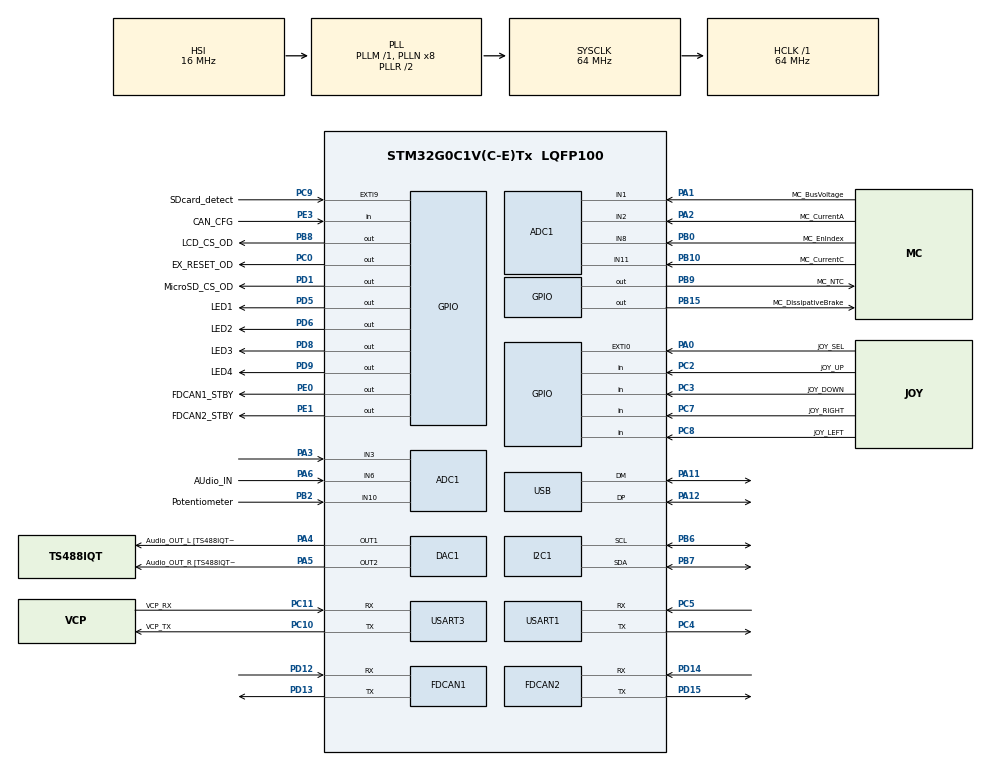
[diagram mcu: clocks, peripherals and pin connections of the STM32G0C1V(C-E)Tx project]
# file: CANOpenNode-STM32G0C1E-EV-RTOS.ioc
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ADC1.Channel-0\#ChannelRegularConversion=ADC_CHANNEL_1
ADC1.NbrOfConversionFlag=1
ADC1.Rank-0\#ChannelRegularConversion=1
ADC1.SamplingTime-0\#ChannelRegularConversion=ADC_SAMPLINGTIME_COMMON_1
ADC1.SelectedChannel=ADC_CHANNEL_1|ADC_CHANNEL_2|ADC_CHANNEL_3|ADC_CHANNEL_6|ADC_CHANNEL_8|ADC_CHANNEL_10|ADC_CHANNEL_11
ADC1.master=1
DAC1.DAC_Channel-DAC_OUT1=DAC_CHANNEL_1
DAC1.DAC_Channel-DAC_OUT2=DAC_CHANNEL_2
FDCAN1.AutoRetransmission=ENABLE
FDCAN1.CalculateBaudRateNominal=125000
FDCAN1.CalculateTimeBitNominal=8000
FDCAN1.CalculateTimeQuantumNominal=500.0
FDCAN1.ClockDivider=FDCAN_CLOCK_DIV1
FDCAN1.DataPrescaler=16
FDCAN1.DataTimeSeg1=13
FDCAN1.DataTimeSeg2=2
FDCAN1.NominalPrescaler=32
FDCAN1.NominalTimeSeg1=13
FDCAN1.NominalTimeSeg2=2
FDCAN1.ProtocolException=ENABLE
FDCAN1.TransmitPause=ENABLE
FDCAN2.CalculateBaudRateNominal=800000
FDCAN2.CalculateTimeBitNominal=1250
FDCAN2.CalculateTimeQuantumNominal=250.0
FREERTOS.Tasks01=defaultTask,24,128,StartDefaultTask,Default,NULL,Dynamic,NULL,NULL;canopen,40,128,canopen_task,Default,NULL,Dynamic,NULL,NULL
FREERTOS.configUSE_NEWLIB_REENTRANT=1
I2C1.Timing=0x10707DBC
Mcu.Family=STM32G0
Mcu.Name=STM32G0C1V(C-E)Tx
Mcu.Package=LQFP100
NVIC.TIM16_FDCAN_IT0_IRQn=true\:3\:0\:false\:false\:true\:true\:true\:true\:true
NVIC.TIM17_FDCAN_IT1_IRQn=true\:3\:0\:false\:false\:true\:true\:true\:true\:true
NVIC.TIM1_BRK_UP_TRG_COM_IRQn=true\:3\:0\:false\:false\:true\:false\:false\:true\:true
NVIC.TimeBase=TIM1_BRK_UP_TRG_COM_IRQn
NVIC.TimeBaseIP=TIM1
PA0.GPIO_Label=JOY_SEL
PA0.Signal=GPXTI0
PA1.GPIO_Label=MC_BusVoltage
PA1.Mode=IN1
PA1.Signal=ADC1_IN1
PA10.GPIO_Label=MC_WH
PA10.Signal=S_TIM1_CH3
PA11\ [PA9].Mode=Device
PA11\ [PA9].Signal=USB_DM
PA12\ [PA10].Mode=Device
PA12\ [PA10].Signal=USB_DP
PA13.Mode=Serial_Wire
PA13.Signal=SYS_SWDIO
PA14-BOOT0.Mode=Serial_Wire
PA14-BOOT0.Signal=SYS_SWCLK
PA2.GPIO_Label=MC_CurrentA
PA2.Mode=IN2
PA2.Signal=ADC1_IN2
PA3.Mode=IN3
PA3.Signal=ADC1_IN3
PA4.GPIO_Label=Audio_OUT_L [TS488IQT_VIN1]
PA4.Signal=COMP_DAC11_group
PA5.GPIO_Label=Audio_OUT_R [TS488IQT_VIN2]
PA5.Signal=COMP_DAC12_group
PA6.GPIO_Label=AUdio_IN
PA6.Mode=IN6
PA6.Signal=ADC1_IN6
PA7.Signal=SPI1_MOSI
PA8.GPIO_Label=MC_UH
PA8.Signal=S_TIM1_CH1
PA9.GPIO_Label=MC_VH
PA9.Signal=S_TIM1_CH2
PB0.GPIO_Label=MC_EnIndex
PB0.Mode=IN8
PB0.Signal=ADC1_IN8
PB1.GPIO_Label=MC_PFCpwm
PB1.Signal=S_TIM3_CH4
PB10.GPIO_Label=MC_CurrentC
PB10.Mode=IN11
PB10.Signal=ADC1_IN11
PB12.GPIO_Label=MC_EmergencySTOP
PB12.Signal=TIM1_BK
PB15.GPIO_Label=MC_DissipativeBrake
PB15.Signal=GPIO_Output
PB2.GPIO_Label=Potentiometer
PB2.Mode=IN10
PB2.Signal=ADC1_IN10
PB3.Signal=SPI1_SCK
PB5.GPIO_Label=MC_EnB
PB5.Signal=S_TIM3_CH2
PB6.GPIO_Pu=GPIO_PULLUP
PB6.Mode=I2C
PB6.Signal=I2C1_SCL
PB7.GPIO_Pu=GPIO_PULLUP
PB7.Mode=I2C
PB7.Signal=I2C1_SDA
PB8.GPIO_Label=LCD_CS_OD
PB8.GPIO_ModeDefaultOutputPP=GPIO_MODE_OUTPUT_OD
PB8.Signal=GPIO_Output
PB9.GPIO_Label=MC_NTC
PB9.Signal=GPIO_Output
PC0.GPIO_Label=EX_RESET_OD
PC0.GPIO_ModeDefaultOutputPP=GPIO_MODE_OUTPUT_OD
PC0.Signal=GPIO_Output
PC1.GPIO_Label=MC_PFCsync1
PC1.Signal=LPTIM1_OUT
PC10.GPIO_Label=VCP_TX
PC10.Mode=Asynchronous
PC10.Signal=USART3_TX
PC11.GPIO_Label=VCP_RX
PC11.Mode=Asynchronous
PC11.Signal=USART3_RX
PC13.GPIO_Label=Tamper_key
PC13.Signal=RTC_TAMP_IN1
PC14-OSC32_IN\ (PC14).Mode=LSE-External-Oscillator
PC14-OSC32_IN\ (PC14).Signal=RCC_OSC32_IN
PC15-OSC32_OUT\ (PC15).Mode=LSE-External-Oscillator
PC15-OSC32_OUT\ (PC15).Signal=RCC_OSC32_OUT
PC2.GPIO_Label=JOY_UP
PC2.Signal=GPIO_Input
PC3.GPIO_Label=JOY_DOWN
PC3.Signal=GPIO_Input
PC4.Mode=Asynchronous
PC4.Signal=USART1_TX
PC5.Mode=Asynchronous
PC5.Signal=USART1_RX
PC6.GPIO_Label=MC_EnA
PC6.Signal=S_TIM3_CH1
PC7.GPIO_Label=JOY_RIGHT
PC7.Signal=GPIO_Input
PC8.GPIO_Label=JOY_LEFT
PC8.Signal=GPIO_Input
PC9.GPIO_Label=SDcard_detect
PC9.Signal=GPXTI9
PD0.GPIO_Label=MC_PFCsync2
PD0.Signal=S_TIM16_CH1
PD1.GPIO_Label=MicroSD_CS_OD
PD1.GPIO_ModeDefaultOutputPP=GPIO_MODE_OUTPUT_OD
PD1.Signal=GPIO_Output
PD12.Mode=FDCAN_Activate
PD12.Signal=FDCAN1_RX
PD13.Mode=FDCAN_Activate
PD13.Signal=FDCAN1_TX
PD14.Mode=FDCAN_Activate
PD14.Signal=FDCAN2_RX
PD15.Mode=FDCAN_Activate
PD15.Signal=FDCAN2_TX
PD2.GPIO_Label=MC_UL
PD2.Signal=TIM1_CH1N
PD3.GPIO_Label=MC_VL
PD3.Signal=TIM1_CH2N
PD4.GPIO_Label=MC_WL
PD4.Signal=TIM1_CH3N
PD5.GPIO_Label=LED1
PD5.Signal=GPIO_Output
PD6.GPIO_Label=LED2
PD6.Signal=GPIO_Output
PD8.GPIO_Label=LED3
PD8.Signal=GPIO_Output
PD9.GPIO_Label=LED4
PD9.Signal=GPIO_Output
PE0.GPIO_Label=FDCAN1_STBY
PE0.Signal=GPIO_Output
PE1.GPIO_Label=FDCAN2_STBY
PE1.Signal=GPIO_Output
PE3.GPIO_Label=CAN_CFG
PE3.GPIO_PuPd=GPIO_PULLUP
PE3.Signal=GPIO_Input
PF0-OSC_IN\ (PF0).Mode=HSE-External-Oscillator
PF0-OSC_IN\ (PF0).Signal=RCC_OSC_IN
PF1-OSC_OUT\ (PF1).Mode=HSE-External-Oscillator
PF1-OSC_OUT\ (PF1).Signal=RCC_OSC_OUT
ProjectManager.HeapSize=0x200
ProjectManager.StackSize=0x400
ProjectManager.TargetToolchain=STM32CubeIDE
RCC.ADCFreq_Value=64000000
RCC.AHBFreq_Value=64000000
RCC.CortexFreq_Value=64000000
RCC.EXTERNAL_CLOCK_VALUE=48000
RCC.HCLKFreq_Value=64000000
RCC.HSE_VALUE=8000000
RCC.HSI48_VALUE=48000000
RCC.HSI_VALUE=16000000
RCC.SYSCLKFreq_VALUE=64000000
RCC.SYSCLKSource=RCC_SYSCLKSOURCE_PLLCLK
RCC.USBFreq_Value=48000000
RCC.VCOOutputFreq_Value=128000000
SH.COMP_DAC11_group.0=DAC1_OUT1,DAC_OUT1
SH.COMP_DAC12_group.0=DAC1_OUT2,DAC_OUT2
SH.S_TIM16_CH1.0=TIM16_CH1
SH.S_TIM1_CH1.0=TIM1_CH1
SH.S_TIM1_CH2.0=TIM1_CH2
SH.S_TIM1_CH3.0=TIM1_CH3
SH.S_TIM3_CH1.0=TIM3_CH1
SH.S_TIM3_CH2.0=TIM3_CH2
SH.S_TIM3_CH4.0=TIM3_CH4
TIM17.Period=999
TIM17.Prescaler=63
USART1.VirtualMode-Asynchronous=VM_ASYNC
USART3.VirtualMode-Asynchronous=VM_ASYNC
USART3.WordLength=WORDLENGTH_7B
VP_FREERTOS_VS_CMSIS_V2.Mode=CMSIS_V2
VP_SYS_VS_DBSignals.Mode=DisableDeadBatterySignals
VP_SYS_VS_tim1.Mode=TIM1
VP_TIM17_VS_ClockSourceINT.Mode=Enable_Timer
board=STM32G0C1E-EV

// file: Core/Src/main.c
/* USER CODE BEGIN Header */
/**
  ******************************************************************************
  * @file           : main.c
  * @brief          : Main program body
  ******************************************************************************
  * @attention
  *
  * Copyright (c) 2022 STMicroelectronics.
  * All rights reserved.
  *
  * This software is licensed under terms that can be found in the LICENSE file
  * in the root directory of this software component.
  * If no LICENSE file comes with this software, it is provided AS-IS.
  *
  ******************************************************************************
  */
/* USER CODE END Header */
#include "main.h"
#include "cmsis_os.h"
#include "adc.h"
#include "dac.h"
#include "fdcan.h"
#include "i2c.h"
#include "tim.h"
#include "usart.h"
#include "usb_drd_fs.h"
#include "gpio.h"

/* USER CODE BEGIN Includes */
#include "CO_app_STM32.h"
/* USER CODE END Includes */

void SystemClock_Config(void);
void MX_FREERTOS_Init(void);

int main(void)
{

  /* MCU Configuration--------------------------------------------------------*/

  /* Reset of all peripherals, Initializes the Flash interface and the Systick. */
  HAL_Init();

  /* Configure the system clock */
  SystemClock_Config();

  /* Initialize all configured peripherals */
  MX_GPIO_Init();
  MX_ADC1_Init();
  MX_DAC1_Init();
  MX_FDCAN1_Init();
  MX_FDCAN2_Init();
  MX_I2C1_Init();
  MX_USART1_UART_Init();
  MX_USART3_UART_Init();
  MX_USB_DRD_FS_PCD_Init();
  MX_TIM17_Init();
  /* USER CODE BEGIN 2 */

  // Initialize the CANOpen Stack

  /* USER CODE END 2 */

  /* Init scheduler */
  osKernelInitialize();  /* Call init function for freertos objects (in freertos.c) */
  MX_FREERTOS_Init();

  /* Start scheduler */
  osKernelStart();

  /* We should never get here as control is now taken by the scheduler */
  /* Infinite loop */
  while (1)
  {

  }
}

void SystemClock_Config(void)
{
  RCC_OscInitTypeDef RCC_OscInitStruct = {0};
  RCC_ClkInitTypeDef RCC_ClkInitStruct = {0};

  /** Configure the main internal regulator output voltage
  */
  HAL_PWREx_ControlVoltageScaling(PWR_REGULATOR_VOLTAGE_SCALE1);

  /** Initializes the RCC Oscillators according to the specified parameters
  * in the RCC_OscInitTypeDef structure.
  */
  RCC_OscInitStruct.OscillatorType = RCC_OSCILLATORTYPE_HSI|RCC_OSCILLATORTYPE_HSI48;
  RCC_OscInitStruct.HSIState = RCC_HSI_ON;
  RCC_OscInitStruct.HSI48State = RCC_HSI48_ON;
  RCC_OscInitStruct.HSIDiv = RCC_HSI_DIV1;
  RCC_OscInitStruct.HSICalibrationValue = RCC_HSICALIBRATION_DEFAULT;
  RCC_OscInitStruct.PLL.PLLState = RCC_PLL_ON;
  RCC_OscInitStruct.PLL.PLLSource = RCC_PLLSOURCE_HSI;
  RCC_OscInitStruct.PLL.PLLM = RCC_PLLM_DIV1;
  RCC_OscInitStruct.PLL.PLLN = 8;
  RCC_OscInitStruct.PLL.PLLP = RCC_PLLP_DIV2;
  RCC_OscInitStruct.PLL.PLLQ = RCC_PLLQ_DIV2;
  RCC_OscInitStruct.PLL.PLLR = RCC_PLLR_DIV2;
  if (HAL_RCC_OscConfig(&RCC_OscInitStruct) != HAL_OK)
  {
    Error_Handler();
  }

  /** Initializes the CPU, AHB and APB buses clocks
  */
  RCC_ClkInitStruct.ClockType = RCC_CLOCKTYPE_HCLK|RCC_CLOCKTYPE_SYSCLK
                              |RCC_CLOCKTYPE_PCLK1;
  RCC_ClkInitStruct.SYSCLKSource = RCC_SYSCLKSOURCE_PLLCLK;
  RCC_ClkInitStruct.AHBCLKDivider = RCC_SYSCLK_DIV1;
  RCC_ClkInitStruct.APB1CLKDivider = RCC_HCLK_DIV1;

  if (HAL_RCC_ClockConfig(&RCC_ClkInitStruct, FLASH_LATENCY_2) != HAL_OK)
  {
    Error_Handler();
  }
}

void HAL_TIM_PeriodElapsedCallback(TIM_HandleTypeDef *htim)
{
  if (htim->Instance == TIM1) {
    HAL_IncTick();
  }
  /* USER CODE BEGIN Callback 1 */
  // Handle CANOpen app interrupts
  if (htim == canopenNodeSTM32->timerHandle) {
      canopen_app_interrupt();
  }
  /* USER CODE END Callback 1 */
}

void Error_Handler(void)
{
  __disable_irq();
  while (1)
  {
  }
}

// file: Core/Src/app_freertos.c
/* USER CODE BEGIN Header */
/**
  ******************************************************************************
  * File Name          : app_freertos.c
  * Description        : Code for freertos applications
  ******************************************************************************
  * @attention
  *
  * Copyright (c) 2022 STMicroelectronics.
  * All rights reserved.
  *
  * This software is licensed under terms that can be found in the LICENSE file
  * in the root directory of this software component.
  * If no LICENSE file comes with this software, it is provided AS-IS.
  *
  ******************************************************************************
  */
/* USER CODE END Header */

#include "FreeRTOS.h"
#include "task.h"
#include "main.h"
#include "cmsis_os.h"

/* USER CODE BEGIN Includes */
#include "CO_app_STM32.h"
#include "fdcan.h"
#include "tim.h"
/* USER CODE END Includes */

/* Definitions for defaultTask */
osThreadId_t defaultTaskHandle;
const osThreadAttr_t defaultTask_attributes = {
  .name = "defaultTask",
  .priority = (osPriority_t) osPriorityNormal,
  .stack_size = 128 * 4
};
/* Definitions for canopen */
osThreadId_t canopenHandle;
const osThreadAttr_t canopen_attributes = {
  .name = "canopen",
  .priority = (osPriority_t) osPriorityHigh,
  .stack_size = 128 * 4
};

void StartDefaultTask(void *argument);
void canopen_task(void *argument);

void MX_FREERTOS_Init(void); /* (MISRA C 2004 rule 8.1) */

void MX_FREERTOS_Init(void) {

  /* Create the thread(s) */
  /* creation of defaultTask */
  defaultTaskHandle = osThreadNew(StartDefaultTask, NULL, &defaultTask_attributes);

  /* creation of canopen */
  canopenHandle = osThreadNew(canopen_task, NULL, &canopen_attributes);

}

void StartDefaultTask(void *argument)
{
  for(;;)
  {
    osDelay(1);
  }
}

void canopen_task(void *argument)
{
  /* USER CODE BEGIN canopen_task */
  CANopenNodeSTM32 canOpenNodeSTM32;
  canOpenNodeSTM32.CANHandle = &hfdcan1;
  canOpenNodeSTM32.HWInitFunction = MX_FDCAN1_Init;
  canOpenNodeSTM32.timerHandle = &htim17;
  canOpenNodeSTM32.desiredNodeID = 21;
  canOpenNodeSTM32.baudrate = 125;
  canopen_app_init(&canOpenNodeSTM32);
  /* Infinite loop */
  for(;;)
  {
	  //Reflect CANopenStatus on LEDs
    HAL_GPIO_WritePin(LED1_GPIO_Port, LED1_Pin, !canOpenNodeSTM32.outStatusLEDGreen);
    HAL_GPIO_WritePin(LED2_GPIO_Port, LED2_Pin, !canOpenNodeSTM32.outStatusLEDRed);
    canopen_app_process();
    // Sleep for 1ms, you can decrease it if required, in the canopen_app_process we will double check to make sure 1ms passed
    vTaskDelay(pdMS_TO_TICKS(1));
  }
  /* USER CODE END canopen_task */
}
